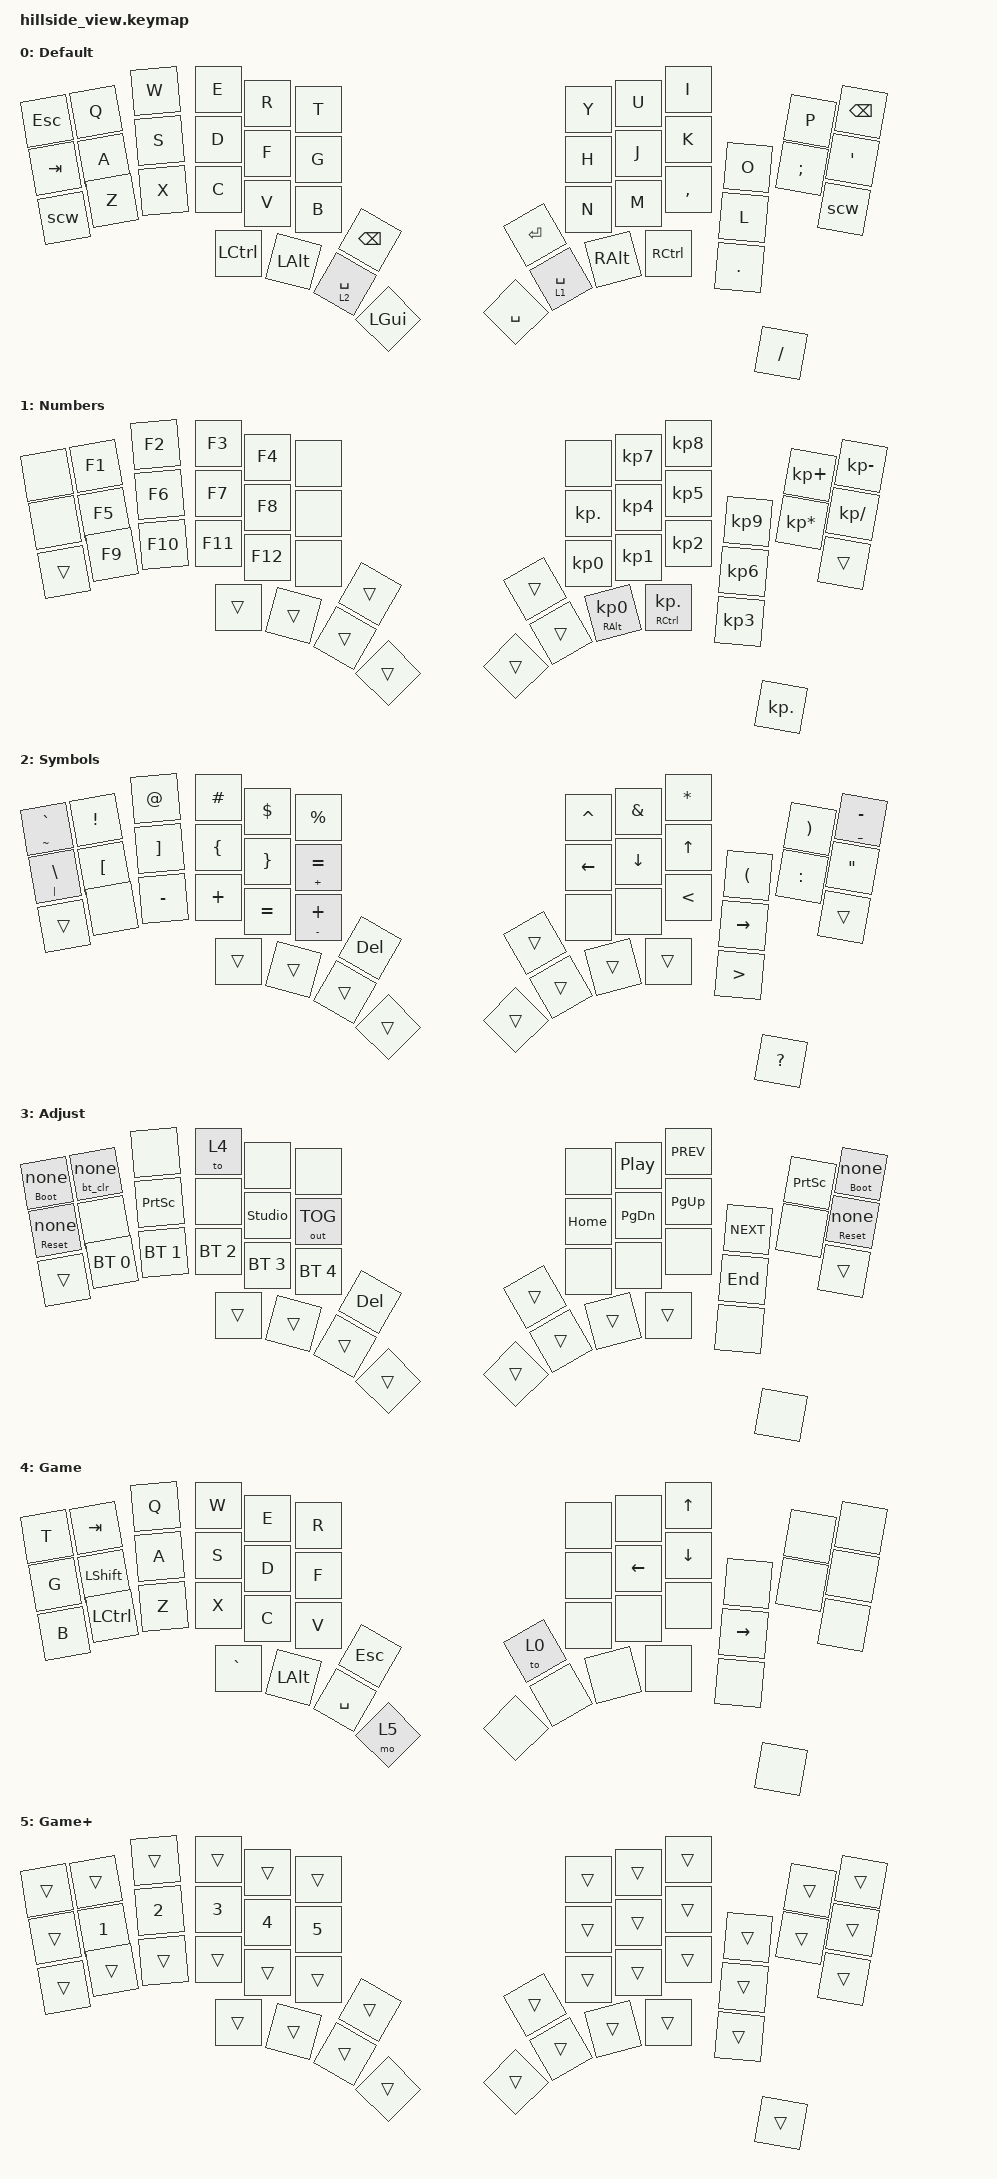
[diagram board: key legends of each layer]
#include <dt-bindings/zmk/mouse.h>
#include <behaviors/mouse_keys.dtsi>
#include <behaviors/studio_unlock.dtsi>
#include <behaviors.dtsi>
#include <dt-bindings/zmk/bt.h>
#include <dt-bindings/zmk/keys.h>
#include <dt-bindings/zmk/outputs.h>

// Left bottom row pinky 2nd column

#ifndef LB5

#define LB5 24

#endif

// Right bottom row pinky 2nd column
#ifndef RB5

#define RB5 35

#endif

#define DEF 0
#define SYM 1
#define NUM 2
#define ADJ 3
#define QUICK_TAP_MS 175
#define TAPPING_TERM_MS 150

/ {
    /* assign `input-listener` to all pointing devices */
    /* &glidepoint0 on central, &glidepoint1 on peripheral */

    tpad_central_listener {
        compatible = "zmk,input-behavior-listener";
        device = <&glidepoint0>;
        invert-y;
        scale-multiplier = <2>;

        // xy-swap;
        // x-invert;
    };

    tpad_peripheral_listener {
        compatible = "zmk,input-behavior-listener";
        device = <&glidepoint1>;
        layers = <DEF SYM ADJ>;
        invert-y;
        scale-multiplier = <2>;

        /* NOTE: do NOT override event code here, */
        /*       let Cirque glidepoint reports click from taps */
        // evt-type = <INPUT_EV_REL>;
        // x-input-code = <INPUT_REL_X>;
        // y-input-code = <INPUT_REL_Y>;
    };

    tpad_peripheral_scroll {
        compatible = "zmk,input-behavior-listener";
        device = <&glidepoint1>;
        layers = <NUM>;

        /* NOTE: only apply input-code overriding for INPUT_EV_REL */

        evt-type = <INPUT_EV_REL>;
        x-input-code = <INPUT_REL_MISC>;
        y-input-code = <INPUT_REL_WHEEL>;
        bindings = <&ib_wheel_scaler 1 8>;
    };

    ib_wheel_scaler: ib_wheel_scaler {
        compatible = "zmk,input-behavior-scaler";
        #binding-cells = <2>;
        evt-type = <INPUT_EV_REL>;
        input-code = <INPUT_REL_WHEEL>;
    };
};

/ {
    conditional_layers {
        compatible = "zmk,conditional-layers";

        tri_layer {
            if-layers = <1 2>;
            then-layer = <3>;
        };
    };

    combos {
        compatible = "zmk,combos";

        to_game_layer {
            bindings = <&to 4>;
            key-positions = <3 14 16>;
            layers = <0>;
        };
    };

    behaviors {
        lq: layer_toggle_quick {
            compatible = "zmk,behavior-hold-tap";
            #binding-cells = <2>;
            flavor = "hold-preferred";
            tapping-term-ms = <300>;
            quick-tap-ms = <QUICK_TAP_MS>;
            bindings = <&mo>, <&kp>;

            hold-while-undecided;
        };

        th: tap_hold {
            compatible = "zmk,behavior-hold-tap";
            #binding-cells = <2>;
            tapping-term-ms = <210>;
            quick-tap-ms = <175>;
            flavor = "tap-preferred";
            bindings = <&kp>, <&kp>;

            label = "Tap/Hold";
        };

        bsp_del: bsp_del {
            compatible = "zmk,behavior-mod-morph";
            label = "Backspace/Delete";
            bindings = <&kp BACKSPACE>, <&kp DEL>;

            #binding-cells = <0>;
            mods = <(MOD_LSFT|MOD_RSFT)>;
        };

        scw: shift_capsword {
            compatible = "zmk,behavior-tap-dance";
            label = "Shift/CapsWord";
            #binding-cells = <0>;
            bindings = <&kp LSHIFT>, <&kp LSHFT>, <&caps_word>;

            tapping-term-ms = <300>;
        };

        h_bt_clr: h_bt_clr {
            compatible = "zmk,behavior-hold-tap";
            label = "BtClr on Hold";
            bindings = <&bt_clr>, <&none>;

            #binding-cells = <2>;
            tapping-term-ms = <1500>;
            flavor = "tap-preferred";
        };

        h_bootloader: h_bootloader {
            compatible = "zmk,behavior-hold-tap";
            label = "Bootloader on Hold";
            bindings = <&bootloader>, <&none>;

            #binding-cells = <2>;
            tapping-term-ms = <700>;
            flavor = "tap-preferred";
        };

        h_sys_reset: h_sys_reset {
            compatible = "zmk,behavior-hold-tap";
            label = "SysReset on Hold";
            bindings = <&sys_reset>, <&none>;

            #binding-cells = <2>;
            tapping-term-ms = <700>;
            flavor = "tap-preferred";
        };
    };

    macros {
        bt_clr: bt_clr {
            compatible = "zmk,behavior-macro";
            #binding-cells = <0>;
            bindings = <&bt BT_CLR>;
            label = "BtClr for use in HoldAction";
        };
    };

    keymap {
        compatible = "zmk,keymap";

        default_layer {
            display-name = "Default";
            bindings = <
&kp ESC  &kp Q      &kp W     &kp E          &kp R         &kp T      &kp Y  &kp U      &kp I        &kp O     &kp P          &kp BACKSPACE
&kp TAB  &kp A      &kp S     &kp D          &kp F         &kp G      &kp H  &kp J      &kp K        &kp L     &kp SEMICOLON  &kp SQT
&scw     &kp Z      &kp X     &kp C          &kp V         &kp B      &kp N  &kp M      &kp COMMA    &kp DOT   &kp FSLH       &scw
                              &kp BACKSPACE                                             &kp ENTER
         &kp LCTRL  &kp LALT  &lq 2 SPACE    &kp LEFT_GUI                    &kp SPACE  &lq 1 SPACE  &kp RALT  &kp RCTRL
            >;
        };

        num_layer {
            display-name = "Numbers";
            bindings = <
&none   &kp F1  &kp F2   &kp F3   &kp F4   &none      &none            &kp KP_N7  &kp KP_N8  &kp KP_N9       &kp KP_PLUS       &kp KP_MINUS
&none   &kp F5  &kp F6   &kp F7   &kp F8   &none      &kp KP_DOT       &kp KP_N4  &kp KP_N5  &kp KP_N6       &kp KP_MULTIPLY   &kp KP_DIVIDE
&trans  &kp F9  &kp F10  &kp F11  &kp F12  &none      &kp KP_NUMBER_0  &kp KP_N1  &kp KP_N2  &kp KP_N3       &kp KP_DOT        &trans
                         &trans                                                   &trans
        &trans  &trans   &trans   &trans                               &trans     &trans     &th RALT KP_N0  &th RCTRL KP_DOT
            >;
        };

        sym_layer {
            display-name = "Symbols";
            bindings = <
&th TILDE GRAVE     &kp EXCL          &kp AT             &kp HASH        &kp DLLR         &kp PRCNT           &kp CARET  &kp AMPS  &kp ASTERISK  &kp LPAR   &kp RPAR   &th UNDERSCORE MINUS
&th PIPE BACKSLASH  &kp LEFT_BRACKET  &kp RIGHT_BRACKET  &kp LEFT_BRACE  &kp RIGHT_BRACE  &th PLUS EQUAL      &kp LEFT   &kp DOWN  &kp UP        &kp RIGHT  &kp COLON  &kp DQT
&trans              &none             &kp MINUS          &kp PLUS        &kp EQUAL        &th MINUS PLUS      &none      &none     &kp LT        &kp GT     &kp QMARK  &trans
                                                         &kp DEL                                                                   &trans
                    &trans            &trans             &trans          &trans                                          &trans    &trans        &trans     &trans
            >;
        };

        adj_layer {
            display-name = "Adjust";
            bindings = <
&h_bootloader 0 0  &h_bt_clr 0 0  &none            &to 4         &none           &none             &none     &kp C_PP       &kp C_PREV   &kp C_NEXT  &kp PRINTSCREEN  &h_bootloader 0 0
&h_sys_reset 0 0   &none          &kp PRINTSCREEN  &none         &studio_unlock  &out OUT_TOG      &kp HOME  &kp PAGE_DOWN  &kp PAGE_UP  &kp END     &none            &h_sys_reset 0 0
&trans             &bt BT_SEL 0   &bt BT_SEL 1     &bt BT_SEL 2  &bt BT_SEL 3    &bt BT_SEL 4      &none     &none          &none        &none       &none            &trans
                                                   &kp DELETE                                                               &trans
                   &trans         &trans           &trans        &trans                                      &trans         &trans       &trans      &trans
            >;

            // F15 and F14 are brightness controls for macOS
        };

        game_layer {
            bindings = <
&kp T  &kp TAB    &kp Q     &kp W       &kp E  &kp R      &none  &none     &kp UP    &none      &none  &none
&kp G  &kp LSHFT  &kp A     &kp S       &kp D  &kp F      &none  &kp LEFT  &kp DOWN  &kp RIGHT  &none  &none
&kp B  &kp LCTRL  &kp Z     &kp X       &kp C  &kp V      &none  &none     &none     &none      &none  &none
                            &kp ESCAPE                                     &to 0
       &kp GRAVE  &kp LALT  &kp SPACE   &mo 5                    &none     &none     &none      &none
            >;

            label = "Game";
        };

        game_layer_2 {
            bindings = <
&trans  &trans  &trans  &trans  &trans  &trans      &trans  &trans  &trans  &trans  &trans  &trans
&trans  &kp N1  &kp N2  &kp N3  &kp N4  &kp N5      &trans  &trans  &trans  &trans  &trans  &trans
&trans  &trans  &trans  &trans  &trans  &trans      &trans  &trans  &trans  &trans  &trans  &trans
                        &trans                                      &trans
        &trans  &trans  &trans  &trans                      &trans  &trans  &trans  &trans
            >;

            label = "Game+";
        };
    };
};
